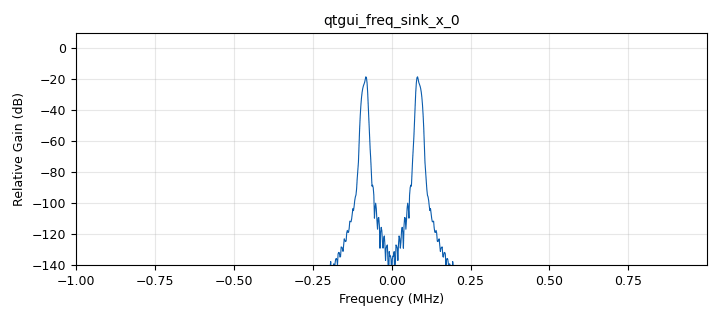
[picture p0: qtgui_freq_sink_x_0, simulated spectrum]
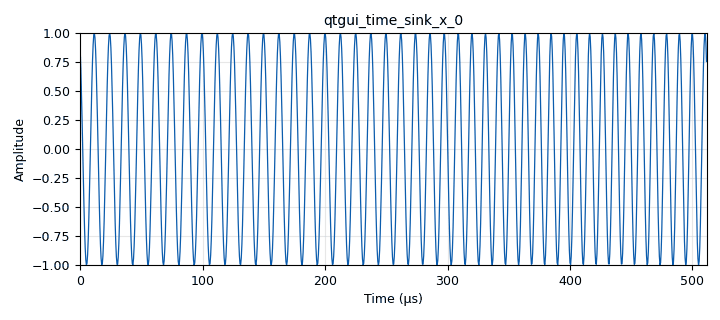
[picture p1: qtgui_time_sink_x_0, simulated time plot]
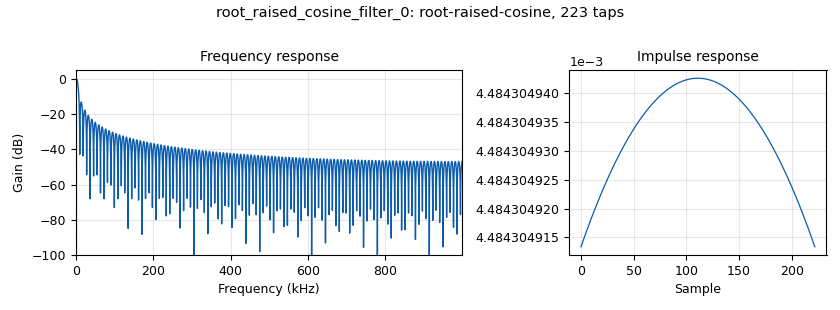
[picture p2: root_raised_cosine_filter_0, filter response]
options:
  parameters:
    author: Or
    generate_options: qt_gui
    id: vco_test
    output_language: python
    title: VCO Cali
  states: {}

blocks:
- name: const_range
  id: variable_qtgui_range
  parameters:
    label: const
    orient: Qt.Horizontal
    start: '-10'
    step: '0.001'
    stop: '10'
    value: '0'
  states: {}
- name: samp_rate
  id: variable
  parameters:
    value: 2e6
  states: {}
- name: analog_const_source_x_0
  id: analog_const_source_x
  parameters:
    const: const_range
    type: float
  states: {state: disabled}
- name: analog_sig_source_x_0
  id: analog_sig_source_x
  parameters:
    amp: '2'
    freq: '1000'
    offset: '0'
    phase: '0'
    samp_rate: samp_rate
    type: float
    waveform: '101'
  states: {state: disabled}
- name: blocks_add_const_vxx_0
  id: blocks_add_const_vxx
  parameters:
    const: const_range
    type: float
  states: {state: disabled}
- name: blocks_add_const_vxx_1
  id: blocks_add_const_vxx
  parameters:
    const: '5'
    type: float
  states: {}
- name: blocks_repeat_0
  id: blocks_repeat
  parameters:
    interp: '140'
    type: float
  states: {}
- name: blocks_throttle_0
  id: blocks_throttle
  parameters:
    samples_per_second: samp_rate
    type: float
  states: {}
- name: blocks_vco_f_0
  id: blocks_vco_f
  parameters:
    amplitude: '1'
    samp_rate: samp_rate
    sensitivity: '100000'
  states: {}
- name: blocks_vector_source_x_0
  id: blocks_vector_source_x
  parameters:
    repeat: 'True'
    type: float
    vector: (0, 0, 1, 1, 1, 1, 1, 0, 1, 0, 1, 0,0,0,0,0,0,0)
  states: {}
- name: qtgui_freq_sink_x_0
  id: qtgui_freq_sink_x
  parameters:
    bw: samp_rate
    fc: '0'
    fftsize: '1024'
    type: float
    wintype: firdes.WIN_BLACKMAN_hARRIS
  states: {}
- name: qtgui_time_sink_x_0
  id: qtgui_time_sink_x
  parameters:
    size: '1024'
    srate: samp_rate
    type: float
  states: {}
- name: root_raised_cosine_filter_0
  id: root_raised_cosine_filter
  parameters:
    alpha: '0.35'
    decim: '1'
    gain: '1'
    ntaps: '222'
    samp_rate: samp_rate
    sym_rate: '1.0'
    type: fir_filter_fff
  states: {}
- name: root_raised_cosine_filter_0_0
  id: root_raised_cosine_filter
  parameters:
    alpha: '0.35'
    decim: '1'
    gain: '1'
    ntaps: '222'
    samp_rate: samp_rate
    sym_rate: '1.0'
    type: fir_filter_fff
  states: {}

connections:
- [analog_const_source_x_0, '0', blocks_add_const_vxx_0, '0']
- [analog_const_source_x_0, '0', blocks_throttle_0, '0']
- [analog_sig_source_x_0, '0', blocks_add_const_vxx_0, '0']
- [blocks_add_const_vxx_0, '0', blocks_throttle_0, '0']
- [blocks_add_const_vxx_1, '0', blocks_vco_f_0, '0']
- [blocks_repeat_0, '0', root_raised_cosine_filter_0, '0']
- [blocks_throttle_0, '0', blocks_repeat_0, '0']
- [blocks_vco_f_0, '0', qtgui_freq_sink_x_0, '0']
- [blocks_vco_f_0, '0', qtgui_time_sink_x_0, '0']
- [blocks_vector_source_x_0, '0', blocks_throttle_0, '0']
- [root_raised_cosine_filter_0, '0', root_raised_cosine_filter_0_0, '0']
- [root_raised_cosine_filter_0_0, '0', blocks_add_const_vxx_1, '0']

metadata:
  file_format: 1
